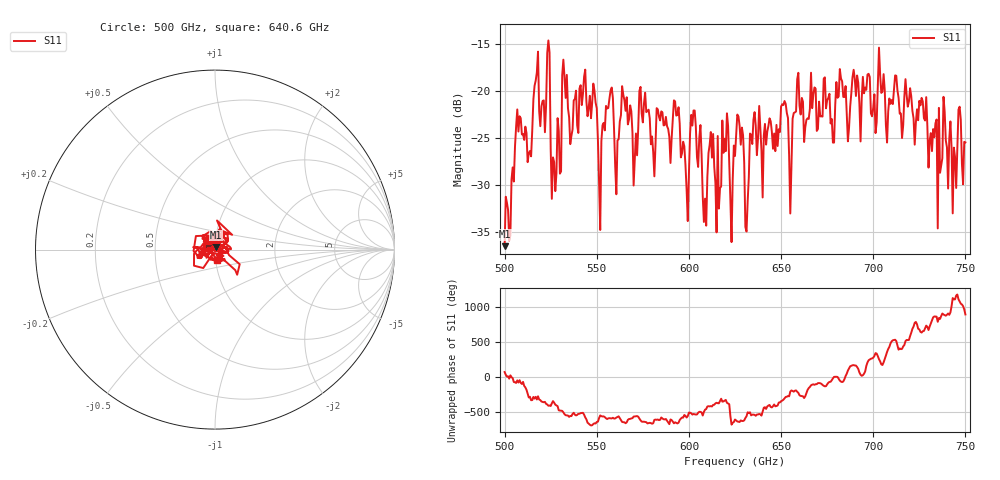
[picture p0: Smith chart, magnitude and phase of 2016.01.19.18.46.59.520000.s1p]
!Created with skrf (http://scikit-rf.org).
# GHz S RI R 50.0
!freq ReS11 ImS11
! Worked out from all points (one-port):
!   401 points, 500 GHz to 750 GHz, reference 50 ohm
!   lowest |S11| = -36.5 dB at 500 GHz (marker M1), VSWR 1.03, Z = 50.4 + j1.43 ohm
!   |S11| at or under -10 dB: start of sweep to end of sweep
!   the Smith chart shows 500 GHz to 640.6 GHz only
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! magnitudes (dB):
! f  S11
! 500 GHz  -36.5
! 507.5 GHz  -24.3
! 513.8 GHz  -26.4
! 516.9 GHz  -18.9
! 523.8 GHz  -14.6
! 526.9 GHz  -27.6
! 531.2 GHz  -18.3
! 548.8 GHz  -19.9
! 551.9 GHz  -34.8
! 556.9 GHz  -20.8
! 560.6 GHz  -31.0
! 562.5 GHz  -23.2
! 593.8 GHz  -22.5
! 598.8 GHz  -30.5
! 602.5 GHz  -22.1
! 608.8 GHz  -31.5
! 611.9 GHz  -24.4
! 616.2 GHz  -32.5
! 625 GHz  -26.9
! 628.1 GHz  -25.7
! 631.2 GHz  -35.0
! 635 GHz  -23.1
! 656.2 GHz  -22.9
! 660 GHz  -21.5
! 687.5 GHz  -21.6
! 718.8 GHz  -21.6
! 736.2 GHz  -28.7
! 750 GHz  -25.5
